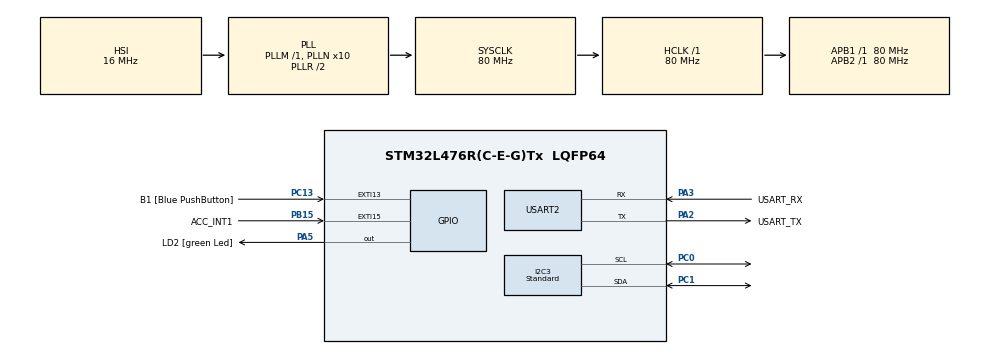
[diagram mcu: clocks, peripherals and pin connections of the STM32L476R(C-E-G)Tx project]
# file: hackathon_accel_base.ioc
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I2C3.I2C_Speed_Mode=I2C_Standard
I2C3.Timing=0x10909CEC
Mcu.Family=STM32L4
Mcu.Name=STM32L476R(C-E-G)Tx
Mcu.Package=LQFP64
NVIC.EXTI15_10_IRQn=true\:0\:0\:false\:false\:true\:true
NVIC.PriorityGroup=NVIC_PRIORITYGROUP_4
PA13\ (JTMS-SWDIO).GPIO_Label=TMS
PA13\ (JTMS-SWDIO).Mode=Serial_Wire
PA13\ (JTMS-SWDIO).Signal=SYS_JTMS-SWDIO
PA14\ (JTCK-SWCLK).GPIO_Label=TCK
PA14\ (JTCK-SWCLK).Mode=Serial_Wire
PA14\ (JTCK-SWCLK).Signal=SYS_JTCK-SWCLK
PA2.GPIO_Label=USART_TX
PA2.GPIO_Mode=GPIO_MODE_AF_PP
PA2.GPIO_PuPd=GPIO_NOPULL
PA2.GPIO_Speed=GPIO_SPEED_FREQ_VERY_HIGH
PA2.Mode=Asynchronous
PA2.Signal=USART2_TX
PA3.GPIO_Label=USART_RX
PA3.GPIO_Mode=GPIO_MODE_AF_PP
PA3.GPIO_PuPd=GPIO_NOPULL
PA3.GPIO_Speed=GPIO_SPEED_FREQ_VERY_HIGH
PA3.Mode=Asynchronous
PA3.Signal=USART2_RX
PA5.GPIO_Label=LD2 [green Led]
PA5.GPIO_ModeDefaultOutputPP=GPIO_MODE_OUTPUT_PP
PA5.GPIO_PuPd=GPIO_NOPULL
PA5.GPIO_Speed=GPIO_SPEED_FREQ_LOW
PA5.Signal=GPIO_Output
PB15.GPIO_Label=ACC_INT1
PB15.GPIO_PuPd=GPIO_PULLDOWN
PB15.Signal=GPXTI15
PB3\ (JTDO-TRACESWO).GPIO_Label=SWO
PB3\ (JTDO-TRACESWO).Signal=SYS_JTDO-SWO
PC0.Mode=I2C
PC0.Signal=I2C3_SCL
PC1.Mode=I2C
PC1.Signal=I2C3_SDA
PC13.GPIO_Label=B1 [Blue PushButton]
PC13.GPIO_ModeDefaultEXTI=GPIO_MODE_IT_FALLING
PC13.GPIO_PuPd=GPIO_NOPULL
PC13.Signal=GPXTI13
PC14-OSC32_IN\ (PC14).Mode=LSE-External-Oscillator
PC14-OSC32_IN\ (PC14).Signal=RCC_OSC32_IN
PC15-OSC32_OUT\ (PC15).Mode=LSE-External-Oscillator
PC15-OSC32_OUT\ (PC15).Signal=RCC_OSC32_OUT
PH0-OSC_IN\ (PH0).Signal=RCC_OSC_IN
PH1-OSC_OUT\ (PH1).Signal=RCC_OSC_OUT
ProjectManager.HeapSize=0x200
ProjectManager.StackSize=0x400
ProjectManager.TargetToolchain=SW4STM32
RCC.ADCFreq_Value=64000000
RCC.AHBFreq_Value=80000000
RCC.APB1Freq_Value=80000000
RCC.APB1TimFreq_Value=80000000
RCC.APB2Freq_Value=80000000
RCC.APB2TimFreq_Value=80000000
RCC.CortexFreq_Value=80000000
RCC.HCLKFreq_Value=80000000
RCC.HSE_VALUE=8000000
RCC.HSI_VALUE=16000000
RCC.MSI_VALUE=4000000
RCC.PLLN=10
RCC.PLLSourceVirtual=RCC_PLLSOURCE_HSI
RCC.PREFETCH_ENABLE=1
RCC.SYSCLKFreq_VALUE=80000000
RCC.SYSCLKSource=RCC_SYSCLKSOURCE_PLLCLK
RCC.USBFreq_Value=64000000
RCC.VCOOutputFreq_Value=160000000
USART2.VirtualMode-Asynchronous=VM_ASYNC
board=NUCLEO-L476RG

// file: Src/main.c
/**
 ******************************************************************************
 * @file           : main.c
 * @brief          : Main program body
 ******************************************************************************
 ** This notice applies to any and all portions of this file
 * that are not between comment pairs USER CODE BEGIN and
 * USER CODE END. Other portions of this file, whether
 * inserted by the user or by software development tools
 * are owned by their respective copyright owners.
 *
 * COPYRIGHT(c) 2019 STMicroelectronics
 *
 * Redistribution and use in source and binary forms, with or without modification,
 * are permitted provided that the following conditions are met:
 *   1. Redistributions of source code must retain the above copyright notice,
 *      this list of conditions and the following disclaimer.
 *   2. Redistributions in binary form must reproduce the above copyright notice,
 *      this list of conditions and the following disclaimer in the documentation
 *      and/or other materials provided with the distribution.
 *   3. Neither the name of STMicroelectronics nor the names of its contributors
 *      may be used to endorse or promote products derived from this software
 *      without specific prior written permission.
 *
 * THIS SOFTWARE IS PROVIDED BY THE COPYRIGHT HOLDERS AND CONTRIBUTORS "AS IS"
 * AND ANY EXPRESS OR IMPLIED WARRANTIES, INCLUDING, BUT NOT LIMITED TO, THE
 * IMPLIED WARRANTIES OF MERCHANTABILITY AND FITNESS FOR A PARTICULAR PURPOSE ARE
 * DISCLAIMED. IN NO EVENT SHALL THE COPYRIGHT HOLDER OR CONTRIBUTORS BE LIABLE
 * FOR ANY DIRECT, INDIRECT, INCIDENTAL, SPECIAL, EXEMPLARY, OR CONSEQUENTIAL
 * DAMAGES (INCLUDING, BUT NOT LIMITED TO, PROCUREMENT OF SUBSTITUTE GOODS OR
 * SERVICES; LOSS OF USE, DATA, OR PROFITS; OR BUSINESS INTERRUPTION) HOWEVER
 * CAUSED AND ON ANY THEORY OF LIABILITY, WHETHER IN CONTRACT, STRICT LIABILITY,
 * OR TORT (INCLUDING NEGLIGENCE OR OTHERWISE) ARISING IN ANY WAY OUT OF THE USE
 * OF THIS SOFTWARE, EVEN IF ADVISED OF THE POSSIBILITY OF SUCH DAMAGE.
 *
 ******************************************************************************
 */
#include "main.h"
#include "stm32l4xx_hal.h"
#include "i2c.h"
#include "usart.h"
#include "gpio.h"

/* USER CODE BEGIN Includes */
#include "accel_control.h"
/* USER CODE END Includes */

/* USER CODE BEGIN PV */
/* Private variables ---------------------------------------------------------*/

/* USER CODE END PV */

void SystemClock_Config(void);

/* USER CODE BEGIN PFP */
/* Private function prototypes -----------------------------------------------*/

/* USER CODE END PFP */

/* USER CODE BEGIN 0 */
uint8_t accel_ready = 0u;
char *msg = "Hello Nucleo Fun!\n\r";
char rec[2];
/* USER CODE END 0 */

int main(void)
{

	/* MCU Configuration----------------------------------------------------------*/

	/* Reset of all peripherals, Initializes the Flash interface and the Systick. */
	HAL_Init();

	/* Configure the system clock */
	SystemClock_Config();

	/* Initialize all configured peripherals */
	MX_GPIO_Init();
	MX_USART2_UART_Init();
	MX_I2C3_Init();
	/* USER CODE BEGIN 2 */
	HAL_UART_Receive(&huart2,rec,1,100000);
	if(rec[0] != 's') {
		while(1);
	}
	initAccel();
	startAccel();
	accel[NUM_OF_ACCEL_SAMPLES] = (uint8_t)('\n');
	HAL_NVIC_EnableIRQ(ACC_INT1_EXTI_IRQn);
	/* USER CODE END 2 */

	/* Infinite loop */
	while (1)
	{

		/* USER CODE BEGIN 3 */
		if(accel_ready == 1) {
			accel_ready = 0u;
			readAccelData(25u); //we have 25 samples in FIFO after watermark int.
			//HAL_GPIO_WritePin(LD2_GPIO_Port, LD2_Pin, 1);
			//HAL_Delay(10);
			//HAL_GPIO_WritePin(LD2_GPIO_Port, LD2_Pin, 0);
			if(accelCurrentPos >= NUM_OF_ACCEL_SAMPLES) {
				HAL_UART_Transmit(&huart2, (uint8_t*)accel, 2u*NUM_OF_ACCEL_SAMPLES, 0xFFFF);
				accelCurrentPos = 0u;
			}
		}

	}
	/* USER CODE END 3 */

}

void SystemClock_Config(void)
{

	RCC_OscInitTypeDef RCC_OscInitStruct;
	RCC_ClkInitTypeDef RCC_ClkInitStruct;
	RCC_PeriphCLKInitTypeDef PeriphClkInit;

	/**Initializes the CPU, AHB and APB busses clocks
	 */
	RCC_OscInitStruct.OscillatorType = RCC_OSCILLATORTYPE_HSI;
	RCC_OscInitStruct.HSIState = RCC_HSI_ON;
	RCC_OscInitStruct.HSICalibrationValue = 16;
	RCC_OscInitStruct.PLL.PLLState = RCC_PLL_ON;
	RCC_OscInitStruct.PLL.PLLSource = RCC_PLLSOURCE_HSI;
	RCC_OscInitStruct.PLL.PLLM = 1;
	RCC_OscInitStruct.PLL.PLLN = 10;
	RCC_OscInitStruct.PLL.PLLP = RCC_PLLP_DIV7;
	RCC_OscInitStruct.PLL.PLLQ = RCC_PLLQ_DIV2;
	RCC_OscInitStruct.PLL.PLLR = RCC_PLLR_DIV2;
	if (HAL_RCC_OscConfig(&RCC_OscInitStruct) != HAL_OK)
	{
		_Error_Handler(__FILE__, __LINE__);
	}

	/**Initializes the CPU, AHB and APB busses clocks
	 */
	RCC_ClkInitStruct.ClockType = RCC_CLOCKTYPE_HCLK|RCC_CLOCKTYPE_SYSCLK
			|RCC_CLOCKTYPE_PCLK1|RCC_CLOCKTYPE_PCLK2;
	RCC_ClkInitStruct.SYSCLKSource = RCC_SYSCLKSOURCE_PLLCLK;
	RCC_ClkInitStruct.AHBCLKDivider = RCC_SYSCLK_DIV1;
	RCC_ClkInitStruct.APB1CLKDivider = RCC_HCLK_DIV1;
	RCC_ClkInitStruct.APB2CLKDivider = RCC_HCLK_DIV1;

	if (HAL_RCC_ClockConfig(&RCC_ClkInitStruct, FLASH_LATENCY_4) != HAL_OK)
	{
		_Error_Handler(__FILE__, __LINE__);
	}

	PeriphClkInit.PeriphClockSelection = RCC_PERIPHCLK_USART2|RCC_PERIPHCLK_I2C3;
	PeriphClkInit.Usart2ClockSelection = RCC_USART2CLKSOURCE_PCLK1;
	PeriphClkInit.I2c3ClockSelection = RCC_I2C3CLKSOURCE_PCLK1;
	if (HAL_RCCEx_PeriphCLKConfig(&PeriphClkInit) != HAL_OK)
	{
		_Error_Handler(__FILE__, __LINE__);
	}

	/**Configure the main internal regulator output voltage
	 */
	if (HAL_PWREx_ControlVoltageScaling(PWR_REGULATOR_VOLTAGE_SCALE1) != HAL_OK)
	{
		_Error_Handler(__FILE__, __LINE__);
	}

	/**Configure the Systick interrupt time
	 */
	HAL_SYSTICK_Config(HAL_RCC_GetHCLKFreq()/1000);

	/**Configure the Systick
	 */
	HAL_SYSTICK_CLKSourceConfig(SYSTICK_CLKSOURCE_HCLK);

	/* SysTick_IRQn interrupt configuration */
	HAL_NVIC_SetPriority(SysTick_IRQn, 0, 0);
}

void _Error_Handler(char *file, int line)
{
	while(1)
	{
	}
}

/************************ (C) COPYRIGHT STMicroelectronics *****END OF FILE****/
